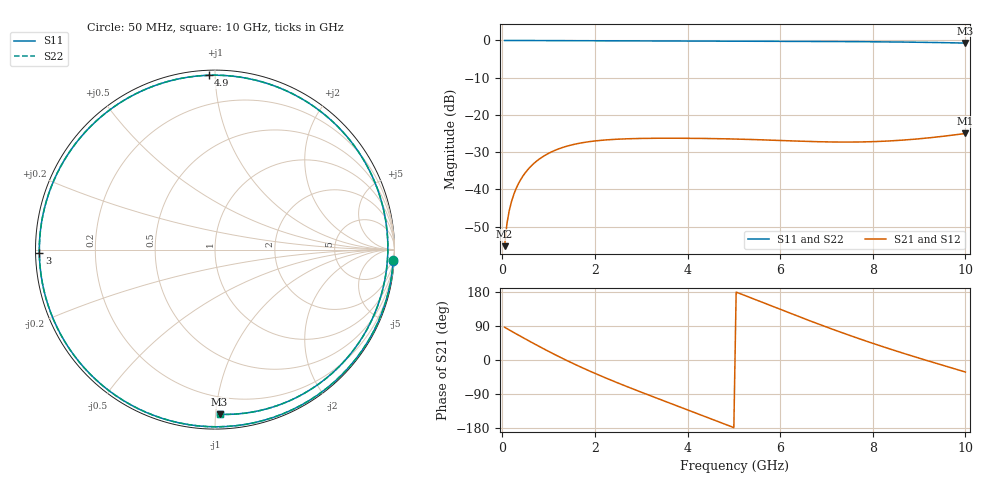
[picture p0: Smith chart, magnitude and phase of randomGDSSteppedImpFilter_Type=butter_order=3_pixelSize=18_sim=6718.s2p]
! freq	dB(S11)	phase(S11)	dB(S12)	phase(S12)
!  dB(S21)	phase(S21)	dB(S22)	phase(S22)
!S-par simulation data
#  GHz  S  DB  R 50
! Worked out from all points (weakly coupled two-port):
!   200 points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, 50 MHz to 10 GHz, reference 50 ohm
!   highest |S21| = -25.02 dB at 10 GHz (marker M1); lowest = -55.3 dB at 50 MHz (marker M2)
!   lowest |S11| = -0.7 dB at 10 GHz (marker M3), VSWR 23.41, Z = 4.39 - j51.2 ohm
!   |S11| at or under -10 dB: nowhere
!   |S22| runs from -0.7 to 0.0 dB; largest |S21 - S12| = 0
!   S11 on the Smith chart (normalised r, x): 50 MHz: 2, -32; 3 GHz: 0.01, -0.01; 4.9 GHz: 0.03, +0.96; 10 GHz: 0.09, -1.02
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0.05  -0.04 -3.5  -55.27 86.4  -55.27 86.4  -0.04 -3.5
0.1  -0.04 -7.0  -49.25 82.9  -49.25 82.9  -0.04 -6.9
0.2  -0.04 -13.9  -43.24 75.9  -43.24 75.9  -0.04 -13.8
0.35  -0.05 -24.2  -38.46 65.6  -38.46 65.6  -0.05 -24.2
0.5  -0.06 -34.4  -35.50 55.4  -35.50 55.4  -0.06 -34.4
0.8  -0.07 -54.4  -31.87 35.6  -31.87 35.6  -0.07 -54.4
1.1  -0.09 -73.8  -29.74 16.5  -29.74 16.5  -0.09 -73.8
1.4  -0.11 -92.3  -28.41 -1.7  -28.41 -1.7  -0.11 -92.3
1.75  -0.13 -112.9  -27.45 -21.7  -27.45 -21.7  -0.13 -112.9
2.4  -0.16 -148.5  -26.61 -55.8  -26.61 -55.8  -0.16 -148.5
3  -0.18 -179.0  -26.34 -84.9  -26.34 -84.9  -0.18 -179.1
3.4  -0.20 161.5  -26.29 -103.6  -26.29 -103.6  -0.20 161.4
4.2  -0.23 123.9  -26.32 -140.8  -26.32 -140.8  -0.23 123.8
4.9  -0.25 92.1  -26.47 -173.7  -26.47 -173.7  -0.25 92.0
5.05  -0.25 85.5  -26.51 179.2  -26.51 179.2  -0.25 85.3
5.5  -0.27 65.8  -26.68 157.6  -26.68 157.6  -0.26 65.7
5.95  -0.28 46.9  -26.87 136.1  -26.87 136.1  -0.28 46.7
6.7  -0.30 17.0  -27.19 100.7  -27.19 100.7  -0.30 16.9
7.45  -0.35 -10.4  -27.32 67.1  -27.32 67.1  -0.34 -10.5
8.35  -0.43 -40.1  -27.03 29.9  -27.03 29.9  -0.43 -40.1
9.15  -0.55 -64.1  -26.26 -0.7  -26.26 -0.7  -0.55 -64.1
10  -0.74 -88.4  -25.02 -31.7  -25.02 -31.7  -0.74 -88.4
